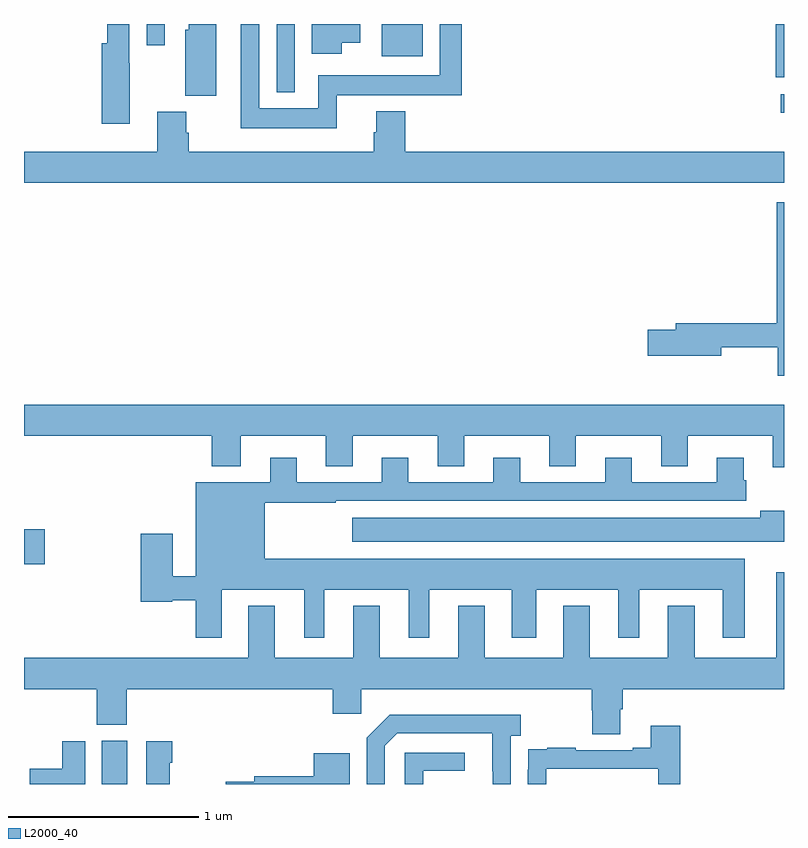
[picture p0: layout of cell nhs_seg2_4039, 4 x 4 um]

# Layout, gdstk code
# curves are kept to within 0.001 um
import gdstk
lib = gdstk.Library(unit=1e-6, precision=1e-09)
def R(c, l, rs):  # rectangles x0, y0, x1, y1
    for r in rs: c.add(gdstk.rectangle(r[:2], r[2:], *l))
def P(c, l, *ps):  # polygons
    for p in ps: c.add(gdstk.Polygon(p, *l))
L2000_40 = (2000, 40)

nhs_seg2_4039 = lib.new_cell('nhs_seg2_4039')
R(nhs_seg2_4039, L2000_40, [(327.41,649.8,327.544,650.028), (327,650.957,327.109,651.14), (330.984,653.333,331,653.43), (328.329,653.441,328.425,653.8), (330.956,653.519,331,653.8), (328.883,653.63,329.098,653.8), (327.645,653.688,327.741,653.8)])
P(nhs_seg2_4039, L2000_40, [(328.646,653.426),(329.18,653.426),(329.18,653.424),(329.303,653.424),(329.303,653.8),(329.187,653.8),(329.187,653.53),(328.548,653.53),(328.548,653.356),(328.239,653.356),(328.239,653.8),(328.142,653.8),(328.142,653.252),(328.646,653.252)],
  [(327.556,653.594),(327.555,653.594),(327.555,653.8),(327.439,653.8),(327.439,653.698),(327.41,653.698),(327.41,653.274),(327.556,653.274)],
  [(328.012,653.8),(327.866,653.8),(327.866,653.769),(327.848,653.769),(327.848,653.422),(328.012,653.422)],
  [(328.672,653.702),(328.771,653.702),(328.771,653.8),(328.514,653.8),(328.514,653.643),(328.672,653.643)],
  [(331,653.128),(329.006,653.128),(329.006,653.341),(328.853,653.341),(328.853,653.229),(328.841,653.229),(328.841,653.128),(327.866,653.128),(327.866,653.228),(327.853,653.228),(327.853,653.337),(327.701,653.337),(327.701,653.128),(327,653.128),(327,652.964),(331,652.964)],
  [(331,652.861),(330.962,652.861),(330.962,652.226),(330.431,652.226),(330.431,652.19),(330.282,652.19),(330.282,652.055),(330.67,652.055),(330.67,652.098),(330.967,652.098),(330.967,651.95),(331,651.95)],
  [(331,651.796),(327,651.796),(327,651.632),(327.989,651.632),(327.989,651.473),(328.141,651.473),(328.141,651.632),(328.589,651.632),(328.589,651.472),(328.729,651.472),(328.729,651.632),(329.177,651.632),(329.177,651.472),(329.317,651.472),(329.317,651.632),(329.765,651.632),(329.765,651.472),(329.905,651.472),(329.905,651.632),(330.353,651.632),(330.353,651.472),(330.493,651.472),(330.493,651.632),(330.941,651.632),(330.941,651.468),(331,651.468)],
  [(328.042,650.822),(328.475,650.822),(328.475,650.571),(328.579,650.571),(328.579,650.822),(329.024,650.822),(329.024,650.571),(329.134,650.571),(329.134,650.822),(329.567,650.822),(329.567,650.571),(329.695,650.571),(329.695,650.822),(330.128,650.822),(330.128,650.571),(330.238,650.571),(330.238,650.822),(330.677,650.822),(330.677,650.571),(330.793,650.571),(330.793,650.986),(328.267,650.986),(328.267,651.279),(328.64,651.279),(328.64,651.291),(330.8,651.291),(330.8,651.399),(330.787,651.399),(330.787,651.517),(330.647,651.517),(330.647,651.387),(330.199,651.387),(330.199,651.517),(330.059,651.517),(330.059,651.387),(329.611,651.387),(329.611,651.517),(329.471,651.517),(329.471,651.387),(329.023,651.387),(329.023,651.517),(328.883,651.517),(328.883,651.387),(328.435,651.387),(328.435,651.517),(328.295,651.517),(328.295,651.388),(327.905,651.388),(327.905,650.894),(327.784,650.894),(327.784,651.118),(327.614,651.118),(327.614,650.758),(327.78,650.758),(327.78,650.766),(327.905,650.766),(327.905,650.571),(328.042,650.571)],
  [(331,651.238),(330.875,651.238),(330.875,651.202),(328.728,651.202),(328.728,651.074),(331,651.074)],
  [(328.181,650.737),(328.181,650.464),(327,650.464),(327,650.3),(327.382,650.3),(327.382,650.113),(327.542,650.113),(327.542,650.3),(328.625,650.3),(328.625,650.169),(328.776,650.169),(328.776,650.3),(329.987,650.3),(329.987,650.187),(329.992,650.187),(329.992,650.062),(330.139,650.062),(330.139,650.194),(330.152,650.194),(330.152,650.3),(331,650.3),(331,650.914),(330.959,650.914),(330.959,650.464),(330.529,650.464),(330.529,650.737),(330.389,650.737),(330.389,650.464),(329.977,650.464),(329.977,650.737),(329.837,650.737),(329.837,650.464),(329.425,650.464),(329.425,650.737),(329.285,650.737),(329.285,650.464),(328.873,650.464),(328.873,650.737),(328.733,650.737),(328.733,650.464),(328.321,650.464),(328.321,650.737)],
  [(328.899,650.001),(328.965,650.067),(329.465,650.067),(329.466,649.8),(329.562,649.8),(329.562,650.054),(329.614,650.054),(329.614,650.164),(328.924,650.164),(328.803,650.043),(328.803,649.8),(328.899,649.8)],
  [(329.748,649.881),(330.339,649.881),(330.339,649.8),(330.455,649.8),(330.455,650.107),(330.299,650.107),(330.299,649.99),(330.203,649.99),(330.203,649.977),(329.903,649.977),(329.903,649.99),(329.755,649.99),(329.755,649.983),(329.653,649.983),(329.653,649.874),(329.652,649.874),(329.652,649.8),(329.748,649.8)],
  [(327.766,649.913),(327.779,649.913),(327.779,650.026),(327.644,650.026),(327.644,649.8),(327.766,649.8)],
  [(327.322,650.026),(327.2,650.026),(327.2,649.879),(327.029,649.879),(327.029,649.8),(327.322,649.8)],
  [(329.1,649.869),(329.32,649.869),(329.32,649.965),(329.004,649.965),(329.004,649.8),(329.1,649.8)],
  [(328.714,649.963),(328.526,649.963),(328.526,649.842),(328.211,649.842),(328.211,649.812),(328.062,649.812),(328.062,649.8),(328.714,649.8)])

lib.write_gds('nhs_seg2_4039.gds')
